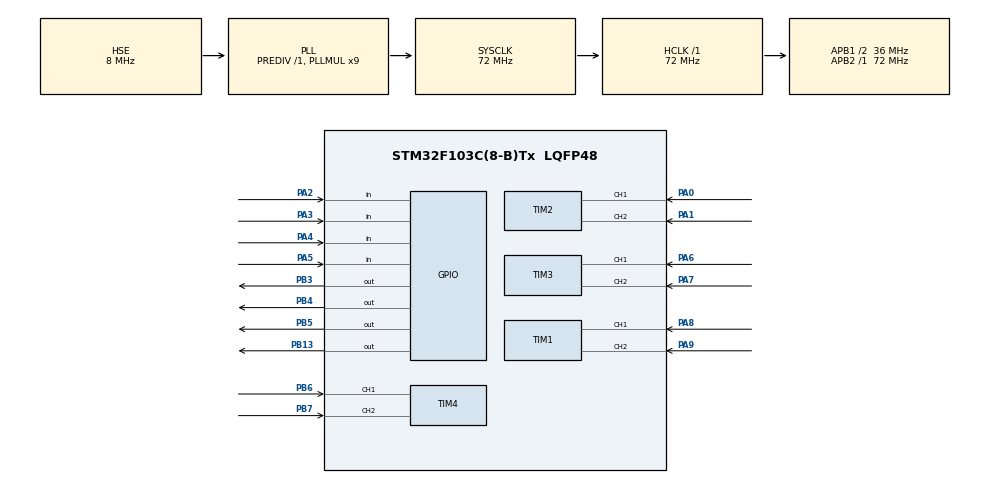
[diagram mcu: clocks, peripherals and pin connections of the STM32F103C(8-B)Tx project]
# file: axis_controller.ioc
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Mcu.Family=STM32F1
Mcu.Name=STM32F103C(8-B)Tx
Mcu.Package=LQFP48
NVIC.PriorityGroup=NVIC_PRIORITYGROUP_4
NVIC.TIM1_BRK_IRQn=true\:0\:0\:false\:false\:true\:true\:true\:true
NVIC.TIM1_CC_IRQn=true\:0\:0\:false\:false\:true\:true\:true\:true
NVIC.TIM1_TRG_COM_IRQn=true\:0\:0\:false\:false\:true\:true\:true\:true
NVIC.TIM1_UP_IRQn=true\:0\:0\:false\:false\:true\:true\:true\:true
NVIC.TIM2_IRQn=true\:0\:0\:false\:false\:true\:true\:true\:true
NVIC.TIM3_IRQn=true\:0\:0\:false\:false\:true\:true\:true\:true
NVIC.TIM4_IRQn=true\:0\:0\:false\:false\:true\:true\:true\:true
PA0-WKUP.Signal=S_TIM2_CH1_ETR
PA1.Signal=S_TIM2_CH2
PA13.Mode=Serial_Wire
PA13.Signal=SYS_JTMS-SWDIO
PA14.Mode=Serial_Wire
PA14.Signal=SYS_JTCK-SWCLK
PA2.GPIO_PuPd=GPIO_PULLDOWN
PA2.Signal=GPIO_Input
PA3.GPIO_PuPd=GPIO_PULLDOWN
PA3.Signal=GPIO_Input
PA4.GPIO_PuPd=GPIO_PULLDOWN
PA4.Signal=GPIO_Input
PA5.GPIO_PuPd=GPIO_PULLDOWN
PA5.Signal=GPIO_Input
PA6.Signal=S_TIM3_CH1
PA7.Signal=S_TIM3_CH2
PA8.Signal=S_TIM1_CH1
PA9.Signal=S_TIM1_CH2
PB13.Signal=GPIO_Output
PB3.Signal=GPIO_Output
PB4.Signal=GPIO_Output
PB5.Signal=GPIO_Output
PB6.Signal=S_TIM4_CH1
PB7.Signal=S_TIM4_CH2
PD0-OSC_IN.Mode=HSE-External-Oscillator
PD0-OSC_IN.Signal=RCC_OSC_IN
PD1-OSC_OUT.Mode=HSE-External-Oscillator
PD1-OSC_OUT.Signal=RCC_OSC_OUT
ProjectManager.HeapSize=0x200
ProjectManager.StackSize=0x400
ProjectManager.TargetToolchain=STM32CubeIDE
RCC.AHBFreq_Value=72000000
RCC.APB1CLKDivider=RCC_HCLK_DIV2
RCC.APB1Freq_Value=36000000
RCC.APB1TimFreq_Value=72000000
RCC.APB2Freq_Value=72000000
RCC.APB2TimFreq_Value=72000000
RCC.HCLKFreq_Value=72000000
RCC.PLLMUL=RCC_PLL_MUL9
RCC.PLLSourceVirtual=RCC_PLLSOURCE_HSE
RCC.SYSCLKFreq_VALUE=72000000
RCC.SYSCLKSource=RCC_SYSCLKSOURCE_PLLCLK
RCC.USBFreq_Value=72000000
SH.S_TIM1_CH1.0=TIM1_CH1,Encoder_Interface
SH.S_TIM1_CH2.0=TIM1_CH2,Encoder_Interface
SH.S_TIM2_CH1_ETR.0=TIM2_CH1,Encoder_Interface
SH.S_TIM2_CH2.0=TIM2_CH2,Encoder_Interface
SH.S_TIM3_CH1.0=TIM3_CH1,Encoder_Interface
SH.S_TIM3_CH2.0=TIM3_CH2,Encoder_Interface
SH.S_TIM4_CH1.0=TIM4_CH1,Encoder_Interface
SH.S_TIM4_CH2.0=TIM4_CH2,Encoder_Interface
TIM1.EncoderMode=TIM_ENCODERMODE_TI1
TIM3.EncoderMode=TIM_ENCODERMODE_TI1
TIM4.EncoderMode=TIM_ENCODERMODE_TI1
board=custom

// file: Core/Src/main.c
/* USER CODE BEGIN Header */
/**
  ******************************************************************************
  * @file           : main.c
  * @brief          : Main program body
  ******************************************************************************
  * @attention
  *
  * Copyright (c) 2023 STMicroelectronics.
  * All rights reserved.
  *
  * This software is licensed under terms that can be found in the LICENSE file
  * in the root directory of this software component.
  * If no LICENSE file comes with this software, it is provided AS-IS.
  *
  ******************************************************************************
  */
/* USER CODE END Header */
#include "main.h"

/* USER CODE BEGIN Includes */
#include "axis_driver.h"
/* USER CODE END Includes */

TIM_HandleTypeDef htim1;
TIM_HandleTypeDef htim2;
TIM_HandleTypeDef htim3;
TIM_HandleTypeDef htim4;

/* USER CODE BEGIN PV */

M_axis_t axis1 = {0};
M_axis_t axis2 = {0};
M_axis_t axis3 = {0};
M_axis_t axis4 = {0};

volatile uint32_t counter1 = 0;
volatile uint32_t counter2 = 0;
volatile uint32_t counter3 = 0;
volatile uint32_t counter4 = 0;

volatile int16_t count1 = 0;
volatile int16_t count2 = 0;
volatile int16_t count3 = 0;
volatile int16_t count4 = 0;
/* USER CODE END PV */

void SystemClock_Config(void);
static void MX_GPIO_Init(void);
static void MX_TIM1_Init(void);
static void MX_TIM2_Init(void);
static void MX_TIM3_Init(void);
static void MX_TIM4_Init(void);

/* USER CODE BEGIN 0 */

void HAL_TIM_IC_CaptureCallback(TIM_HandleTypeDef *htim)
{
    if(htim == &htim1){
        counter1 = __HAL_TIM_GET_COUNTER(htim);
        count1 = count1 < 0 ? 0 : (int16_t)counter1;
        }
    else if(htim == &htim2){
        counter2 = __HAL_TIM_GET_COUNTER(htim);
        count2 = (int16_t)counter2;
        count2 = count2 < 0 ? 0 : (int16_t)counter2;
    }
    else if(htim == &htim3){
        counter3 = __HAL_TIM_GET_COUNTER(htim);
        count3 = (int16_t)counter3;
        count3 = count3 < 0 ? 0 : (int16_t)counter3;
        }
    else if(htim == &htim4){
        counter4 = __HAL_TIM_GET_COUNTER(htim);
        count4 = (int16_t)counter4;
        count4 = count4 < 0 ? 0 : (int16_t)counter4;
        }

}
/* USER CODE END 0 */

int main(void)
{
  /* USER CODE BEGIN 1 */
  uint16_t axis_arr[] = {GPIO_PIN_3, GPIO_PIN_4, GPIO_PIN_5, GPIO_PIN_13};
  /* USER CODE END 1 */

  /* MCU Configuration--------------------------------------------------------*/

  /* Reset of all peripherals, Initializes the Flash interface and the Systick. */
  HAL_Init();

  /* Configure the system clock */
  SystemClock_Config();

  /* Initialize all configured peripherals */
  MX_GPIO_Init();
  MX_TIM1_Init();
  MX_TIM2_Init();
  MX_TIM3_Init();
  MX_TIM4_Init();
  /* USER CODE BEGIN 2 */
  auto_home(axis_arr);

  HAL_TIM_Encoder_Start_IT(&htim1, TIM_CHANNEL_1);
  HAL_TIM_Encoder_Start_IT(&htim2, TIM_CHANNEL_1);
  HAL_TIM_Encoder_Start_IT(&htim3, TIM_CHANNEL_1);
  HAL_TIM_Encoder_Start_IT(&htim4, TIM_CHANNEL_1);

  /* USER CODE END 2 */

  /* Infinite loop */
  while (1)
  {

    /* USER CODE BEGIN 3 */
      /*Make sure all encoder value = 0 when axis angle = 0*/
      if(axis1.angle == 0)
      {
          count1 = 0;
      }
      if(axis2.angle == 0)
      {
          count2 = 0;
      }
      if(axis3.angle == 0)
      {
          count3 = 0;
      }
      if(axis4.angle == 0)
      {
          count4 = 0;
      }
      pwm_handler(&htim1, &axis1, GPIO_PIN_3, count1);
      pwm_handler(&htim2, &axis2, GPIO_PIN_4, count2);
      pwm_handler(&htim3, &axis3, GPIO_PIN_5, count3);
      pwm_handler(&htim4, &axis4, GPIO_PIN_13,count4);

  }
  /* USER CODE END 3 */
}

void SystemClock_Config(void)
{
  RCC_OscInitTypeDef RCC_OscInitStruct = {0};
  RCC_ClkInitTypeDef RCC_ClkInitStruct = {0};

  /** Initializes the RCC Oscillators according to the specified parameters
  * in the RCC_OscInitTypeDef structure.
  */
  RCC_OscInitStruct.OscillatorType = RCC_OSCILLATORTYPE_HSE;
  RCC_OscInitStruct.HSEState = RCC_HSE_ON;
  RCC_OscInitStruct.HSEPredivValue = RCC_HSE_PREDIV_DIV1;
  RCC_OscInitStruct.HSIState = RCC_HSI_ON;
  RCC_OscInitStruct.PLL.PLLState = RCC_PLL_ON;
  RCC_OscInitStruct.PLL.PLLSource = RCC_PLLSOURCE_HSE;
  RCC_OscInitStruct.PLL.PLLMUL = RCC_PLL_MUL9;
  if (HAL_RCC_OscConfig(&RCC_OscInitStruct) != HAL_OK)
  {
    Error_Handler();
  }

  /** Initializes the CPU, AHB and APB buses clocks
  */
  RCC_ClkInitStruct.ClockType = RCC_CLOCKTYPE_HCLK|RCC_CLOCKTYPE_SYSCLK
                              |RCC_CLOCKTYPE_PCLK1|RCC_CLOCKTYPE_PCLK2;
  RCC_ClkInitStruct.SYSCLKSource = RCC_SYSCLKSOURCE_PLLCLK;
  RCC_ClkInitStruct.AHBCLKDivider = RCC_SYSCLK_DIV1;
  RCC_ClkInitStruct.APB1CLKDivider = RCC_HCLK_DIV2;
  RCC_ClkInitStruct.APB2CLKDivider = RCC_HCLK_DIV1;

  if (HAL_RCC_ClockConfig(&RCC_ClkInitStruct, FLASH_LATENCY_2) != HAL_OK)
  {
    Error_Handler();
  }
}

static void MX_TIM1_Init(void)
{

  TIM_Encoder_InitTypeDef sConfig = {0};
  TIM_MasterConfigTypeDef sMasterConfig = {0};

  htim1.Instance = TIM1;
  htim1.Init.Prescaler = 0;
  htim1.Init.CounterMode = TIM_COUNTERMODE_UP;
  htim1.Init.Period = 65535;
  htim1.Init.ClockDivision = TIM_CLOCKDIVISION_DIV1;
  htim1.Init.RepetitionCounter = 0;
  htim1.Init.AutoReloadPreload = TIM_AUTORELOAD_PRELOAD_DISABLE;
  sConfig.EncoderMode = TIM_ENCODERMODE_TI1;
  sConfig.IC1Polarity = TIM_ICPOLARITY_RISING;
  sConfig.IC1Selection = TIM_ICSELECTION_DIRECTTI;
  sConfig.IC1Prescaler = TIM_ICPSC_DIV1;
  sConfig.IC1Filter = 0;
  sConfig.IC2Polarity = TIM_ICPOLARITY_RISING;
  sConfig.IC2Selection = TIM_ICSELECTION_DIRECTTI;
  sConfig.IC2Prescaler = TIM_ICPSC_DIV1;
  sConfig.IC2Filter = 0;
  if (HAL_TIM_Encoder_Init(&htim1, &sConfig) != HAL_OK)
  {
    Error_Handler();
  }
  sMasterConfig.MasterOutputTrigger = TIM_TRGO_RESET;
  sMasterConfig.MasterSlaveMode = TIM_MASTERSLAVEMODE_DISABLE;
  if (HAL_TIMEx_MasterConfigSynchronization(&htim1, &sMasterConfig) != HAL_OK)
  {
    Error_Handler();
  }

}

static void MX_TIM2_Init(void)
{

  TIM_Encoder_InitTypeDef sConfig = {0};
  TIM_MasterConfigTypeDef sMasterConfig = {0};

  htim2.Instance = TIM2;
  htim2.Init.Prescaler = 0;
  htim2.Init.CounterMode = TIM_COUNTERMODE_UP;
  htim2.Init.Period = 65535;
  htim2.Init.ClockDivision = TIM_CLOCKDIVISION_DIV1;
  htim2.Init.AutoReloadPreload = TIM_AUTORELOAD_PRELOAD_DISABLE;
  sConfig.EncoderMode = TIM_ENCODERMODE_TI1;
  sConfig.IC1Polarity = TIM_ICPOLARITY_RISING;
  sConfig.IC1Selection = TIM_ICSELECTION_DIRECTTI;
  sConfig.IC1Prescaler = TIM_ICPSC_DIV1;
  sConfig.IC1Filter = 0;
  sConfig.IC2Polarity = TIM_ICPOLARITY_RISING;
  sConfig.IC2Selection = TIM_ICSELECTION_DIRECTTI;
  sConfig.IC2Prescaler = TIM_ICPSC_DIV1;
  sConfig.IC2Filter = 0;
  if (HAL_TIM_Encoder_Init(&htim2, &sConfig) != HAL_OK)
  {
    Error_Handler();
  }
  sMasterConfig.MasterOutputTrigger = TIM_TRGO_RESET;
  sMasterConfig.MasterSlaveMode = TIM_MASTERSLAVEMODE_DISABLE;
  if (HAL_TIMEx_MasterConfigSynchronization(&htim2, &sMasterConfig) != HAL_OK)
  {
    Error_Handler();
  }

}

static void MX_TIM3_Init(void)
{

  TIM_Encoder_InitTypeDef sConfig = {0};
  TIM_MasterConfigTypeDef sMasterConfig = {0};

  htim3.Instance = TIM3;
  htim3.Init.Prescaler = 0;
  htim3.Init.CounterMode = TIM_COUNTERMODE_UP;
  htim3.Init.Period = 65535;
  htim3.Init.ClockDivision = TIM_CLOCKDIVISION_DIV1;
  htim3.Init.AutoReloadPreload = TIM_AUTORELOAD_PRELOAD_DISABLE;
  sConfig.EncoderMode = TIM_ENCODERMODE_TI1;
  sConfig.IC1Polarity = TIM_ICPOLARITY_RISING;
  sConfig.IC1Selection = TIM_ICSELECTION_DIRECTTI;
  sConfig.IC1Prescaler = TIM_ICPSC_DIV1;
  sConfig.IC1Filter = 0;
  sConfig.IC2Polarity = TIM_ICPOLARITY_RISING;
  sConfig.IC2Selection = TIM_ICSELECTION_DIRECTTI;
  sConfig.IC2Prescaler = TIM_ICPSC_DIV1;
  sConfig.IC2Filter = 0;
  if (HAL_TIM_Encoder_Init(&htim3, &sConfig) != HAL_OK)
  {
    Error_Handler();
  }
  sMasterConfig.MasterOutputTrigger = TIM_TRGO_RESET;
  sMasterConfig.MasterSlaveMode = TIM_MASTERSLAVEMODE_DISABLE;
  if (HAL_TIMEx_MasterConfigSynchronization(&htim3, &sMasterConfig) != HAL_OK)
  {
    Error_Handler();
  }

}

static void MX_TIM4_Init(void)
{

  TIM_Encoder_InitTypeDef sConfig = {0};
  TIM_MasterConfigTypeDef sMasterConfig = {0};

  htim4.Instance = TIM4;
  htim4.Init.Prescaler = 0;
  htim4.Init.CounterMode = TIM_COUNTERMODE_UP;
  htim4.Init.Period = 65535;
  htim4.Init.ClockDivision = TIM_CLOCKDIVISION_DIV1;
  htim4.Init.AutoReloadPreload = TIM_AUTORELOAD_PRELOAD_DISABLE;
  sConfig.EncoderMode = TIM_ENCODERMODE_TI1;
  sConfig.IC1Polarity = TIM_ICPOLARITY_RISING;
  sConfig.IC1Selection = TIM_ICSELECTION_DIRECTTI;
  sConfig.IC1Prescaler = TIM_ICPSC_DIV1;
  sConfig.IC1Filter = 0;
  sConfig.IC2Polarity = TIM_ICPOLARITY_RISING;
  sConfig.IC2Selection = TIM_ICSELECTION_DIRECTTI;
  sConfig.IC2Prescaler = TIM_ICPSC_DIV1;
  sConfig.IC2Filter = 0;
  if (HAL_TIM_Encoder_Init(&htim4, &sConfig) != HAL_OK)
  {
    Error_Handler();
  }
  sMasterConfig.MasterOutputTrigger = TIM_TRGO_RESET;
  sMasterConfig.MasterSlaveMode = TIM_MASTERSLAVEMODE_DISABLE;
  if (HAL_TIMEx_MasterConfigSynchronization(&htim4, &sMasterConfig) != HAL_OK)
  {
    Error_Handler();
  }

}

static void MX_GPIO_Init(void)
{
  GPIO_InitTypeDef GPIO_InitStruct = {0};

  /* GPIO Ports Clock Enable */
  __HAL_RCC_GPIOD_CLK_ENABLE();
  __HAL_RCC_GPIOA_CLK_ENABLE();
  __HAL_RCC_GPIOB_CLK_ENABLE();

  /*Configure GPIO pin Output Level */
  HAL_GPIO_WritePin(GPIOB, GPIO_PIN_13|GPIO_PIN_3|GPIO_PIN_4|GPIO_PIN_5, GPIO_PIN_RESET);

  /*Configure GPIO pins : PA2 PA3 PA4 PA5 */
  GPIO_InitStruct.Pin = GPIO_PIN_2|GPIO_PIN_3|GPIO_PIN_4|GPIO_PIN_5;
  GPIO_InitStruct.Mode = GPIO_MODE_INPUT;
  GPIO_InitStruct.Pull = GPIO_PULLDOWN;
  HAL_GPIO_Init(GPIOA, &GPIO_InitStruct);

  /*Configure GPIO pins : PB13 PB3 PB4 PB5 */
  GPIO_InitStruct.Pin = GPIO_PIN_13|GPIO_PIN_3|GPIO_PIN_4|GPIO_PIN_5;
  GPIO_InitStruct.Mode = GPIO_MODE_OUTPUT_PP;
  GPIO_InitStruct.Pull = GPIO_NOPULL;
  GPIO_InitStruct.Speed = GPIO_SPEED_FREQ_LOW;
  HAL_GPIO_Init(GPIOB, &GPIO_InitStruct);

}

void Error_Handler(void)
{
  __disable_irq();
  while (1)
  {
  }
}
